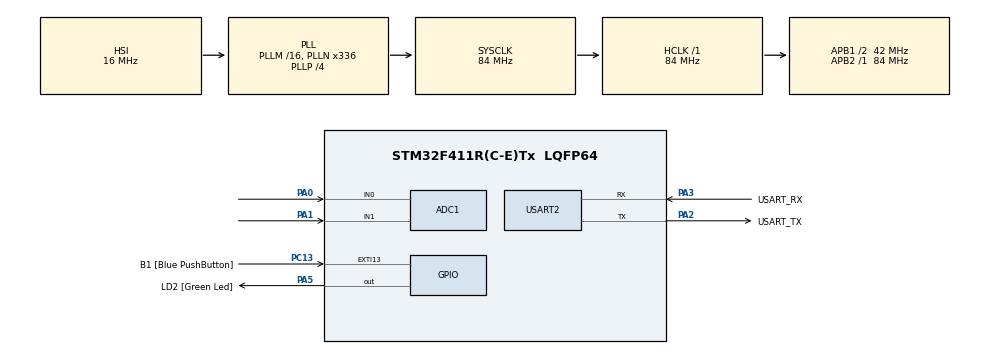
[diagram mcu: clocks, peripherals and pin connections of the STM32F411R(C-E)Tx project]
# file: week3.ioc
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ADC1.Channel-0\#ChannelRegularConversion=ADC_CHANNEL_0
ADC1.NbrOfConversionFlag=1
ADC1.Rank-0\#ChannelRegularConversion=1
ADC1.SamplingTime-0\#ChannelRegularConversion=ADC_SAMPLETIME_3CYCLES
ADC1.master=1
Mcu.Family=STM32F4
Mcu.Name=STM32F411R(C-E)Tx
Mcu.Package=LQFP64
NVIC.PriorityGroup=NVIC_PRIORITYGROUP_0
PA0-WKUP.Signal=ADCx_IN0
PA1.Signal=ADCx_IN1
PA13.GPIO_Label=TMS
PA13.Mode=Serial_Wire
PA13.Signal=SYS_JTMS-SWDIO
PA14.GPIO_Label=TCK
PA14.Mode=Serial_Wire
PA14.Signal=SYS_JTCK-SWCLK
PA2.GPIO_Label=USART_TX
PA2.Mode=Asynchronous
PA2.Signal=USART2_TX
PA3.GPIO_Label=USART_RX
PA3.Mode=Asynchronous
PA3.Signal=USART2_RX
PA5.GPIO_Label=LD2 [Green Led]
PA5.Signal=GPIO_Output
PB3.GPIO_Label=SWO
PB3.Signal=SYS_JTDO-SWO
PC13-ANTI_TAMP.GPIO_Label=B1 [Blue PushButton]
PC13-ANTI_TAMP.GPIO_ModeDefaultEXTI=GPIO_MODE_IT_FALLING
PC13-ANTI_TAMP.Signal=GPXTI13
PC14-OSC32_IN.Mode=LSE-External-Oscillator
PC14-OSC32_IN.Signal=RCC_OSC32_IN
PC15-OSC32_OUT.Mode=LSE-External-Oscillator
PC15-OSC32_OUT.Signal=RCC_OSC32_OUT
PH0\ -\ OSC_IN.Mode=HSE-External-Clock-Source
PH0\ -\ OSC_IN.Signal=RCC_OSC_IN
PH1\ -\ OSC_OUT.Mode=HSE-External-Clock-Source
PH1\ -\ OSC_OUT.Signal=RCC_OSC_OUT
ProjectManager.HeapSize=0x200
ProjectManager.StackSize=0x400
ProjectManager.TargetToolchain=STM32CubeIDE
RCC.48MHZClocksFreq_Value=84000000
RCC.AHBFreq_Value=84000000
RCC.APB1CLKDivider=RCC_HCLK_DIV2
RCC.APB1Freq_Value=42000000
RCC.APB1TimFreq_Value=84000000
RCC.APB2Freq_Value=84000000
RCC.APB2TimFreq_Value=84000000
RCC.CortexFreq_Value=84000000
RCC.FLatency-AdvancedSettings=FLASH_LATENCY_2
RCC.HCLKFreq_Value=84000000
RCC.HSE_VALUE=8000000
RCC.HSI_VALUE=16000000
RCC.PLLN=336
RCC.PLLP=RCC_PLLP_DIV4
RCC.SYSCLKFreq_VALUE=84000000
RCC.SYSCLKSource=RCC_SYSCLKSOURCE_PLLCLK
RCC.VCOOutputFreq_Value=336000000
SH.ADCx_IN0.0=ADC1_IN0,IN0
SH.ADCx_IN1.0=ADC1_IN1,IN1
USART2.VirtualMode=VM_ASYNC
VP_ADC1_TempSens_Input.Mode=IN-TempSens
board=NUCLEO-F411RE

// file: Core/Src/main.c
/* USER CODE BEGIN Header */
/**
 ******************************************************************************
 * @file           : main.c
 * @brief          : Main program body
 ******************************************************************************
 * @attention
 *
 * <h2><center>&copy; Copyright (c) 2021 STMicroelectronics.
 * All rights reserved.</center></h2>
 *
 * This software component is licensed by ST under BSD 3-Clause license,
 * the "License"; You may not use this file except in compliance with the
 * License. You may obtain a copy of the License at:
 *                        opensource.org/licenses/BSD-3-Clause
 *
 ******************************************************************************
 */
/* USER CODE END Header */
#include "main.h"

ADC_HandleTypeDef hadc1;

UART_HandleTypeDef huart2;

/* USER CODE BEGIN PV */
uint16_t adcdata[2] = { 0 };
int ADCMode =0;
float ADCOutputConverted=0;
typedef struct {
	ADC_ChannelConfTypeDef Config;
	uint16_t data;
} ADCStructure;

//ADCStructure ADCChannel[3] = { 0 };
ADCStructure ADCChannel[2] = { 0 };
/* USER CODE END PV */

void SystemClock_Config(void);
static void MX_GPIO_Init(void);
static void MX_USART2_UART_Init(void);
static void MX_ADC1_Init(void);
/* USER CODE BEGIN PFP */
void ADCPollingMethodInit();
void ADCPollingMethodUpdate();
/* USER CODE END PFP */

int main(void) {

	/* MCU Configuration--------------------------------------------------------*/

	/* Reset of all peripherals, Initializes the Flash interface and the Systick. */
HAL_Init();

	/* Configure the system clock */
	SystemClock_Config();

	/* Initialize all configured peripherals */
	MX_GPIO_Init();
	MX_USART2_UART_Init();
	MX_ADC1_Init();
	/* USER CODE BEGIN 2 */
	ADCPollingMethodInit();

	/* USER CODE END 2 */

	/* Infinite loop */
	while (1) {

		/* USER CODE BEGIN 3 */

		ADCPollingMethodUpdate();
	}
	/* USER CODE END 3 */
}

void SystemClock_Config(void) {
	RCC_OscInitTypeDef RCC_OscInitStruct = { 0 };
	RCC_ClkInitTypeDef RCC_ClkInitStruct = { 0 };

	/** Configure the main internal regulator output voltage
	 */
	__HAL_RCC_PWR_CLK_ENABLE();
	__HAL_PWR_VOLTAGESCALING_CONFIG(PWR_REGULATOR_VOLTAGE_SCALE1);
	/** Initializes the RCC Oscillators according to the specified parameters
	 * in the RCC_OscInitTypeDef structure.
	 */
	RCC_OscInitStruct.OscillatorType = RCC_OSCILLATORTYPE_HSI;
	RCC_OscInitStruct.HSIState = RCC_HSI_ON;
	RCC_OscInitStruct.HSICalibrationValue = RCC_HSICALIBRATION_DEFAULT;
	RCC_OscInitStruct.PLL.PLLState = RCC_PLL_ON;
	RCC_OscInitStruct.PLL.PLLSource = RCC_PLLSOURCE_HSI;
	RCC_OscInitStruct.PLL.PLLM = 16;
	RCC_OscInitStruct.PLL.PLLN = 336;
	RCC_OscInitStruct.PLL.PLLP = RCC_PLLP_DIV4;
	RCC_OscInitStruct.PLL.PLLQ = 4;
	if (HAL_RCC_OscConfig(&RCC_OscInitStruct) != HAL_OK) {
		Error_Handler();
	}
	/** Initializes the CPU, AHB and APB buses clocks
	 */
	RCC_ClkInitStruct.ClockType = RCC_CLOCKTYPE_HCLK | RCC_CLOCKTYPE_SYSCLK
			| RCC_CLOCKTYPE_PCLK1 | RCC_CLOCKTYPE_PCLK2;
	RCC_ClkInitStruct.SYSCLKSource = RCC_SYSCLKSOURCE_PLLCLK;
	RCC_ClkInitStruct.AHBCLKDivider = RCC_SYSCLK_DIV1;
	RCC_ClkInitStruct.APB1CLKDivider = RCC_HCLK_DIV2;
	RCC_ClkInitStruct.APB2CLKDivider = RCC_HCLK_DIV1;

	if (HAL_RCC_ClockConfig(&RCC_ClkInitStruct, FLASH_LATENCY_2) != HAL_OK) {
		Error_Handler();
	}
}

static void MX_ADC1_Init(void) {

	ADC_ChannelConfTypeDef sConfig = { 0 };

	/** Configure the global features of the ADC (Clock, Resolution, Data Alignment and number of conversion)
	 */
	hadc1.Instance = ADC1;
	hadc1.Init.ClockPrescaler = ADC_CLOCK_SYNC_PCLK_DIV4;
	hadc1.Init.Resolution = ADC_RESOLUTION_12B;
	hadc1.Init.ScanConvMode = DISABLE;
	hadc1.Init.ContinuousConvMode = DISABLE;
	hadc1.Init.DiscontinuousConvMode = DISABLE;
	hadc1.Init.ExternalTrigConvEdge = ADC_EXTERNALTRIGCONVEDGE_NONE;
	hadc1.Init.ExternalTrigConv = ADC_SOFTWARE_START;
	hadc1.Init.DataAlign = ADC_DATAALIGN_RIGHT;
	hadc1.Init.NbrOfConversion = 1;
	hadc1.Init.DMAContinuousRequests = DISABLE;
	hadc1.Init.EOCSelection = ADC_EOC_SINGLE_CONV;
	if (HAL_ADC_Init(&hadc1) != HAL_OK) {
		Error_Handler();
	}
	/** Configure for the selected ADC regular channel its corresponding rank in the sequencer and its sample time.
	 */
	sConfig.Channel = ADC_CHANNEL_0;
	sConfig.Rank = 1;
	sConfig.SamplingTime = ADC_SAMPLETIME_3CYCLES;
	if (HAL_ADC_ConfigChannel(&hadc1, &sConfig) != HAL_OK) {
		Error_Handler();
	}

}

static void MX_USART2_UART_Init(void) {

	huart2.Instance = USART2;
	huart2.Init.BaudRate = 115200;
	huart2.Init.WordLength = UART_WORDLENGTH_8B;
	huart2.Init.StopBits = UART_STOPBITS_1;
	huart2.Init.Parity = UART_PARITY_NONE;
	huart2.Init.Mode = UART_MODE_TX_RX;
	huart2.Init.HwFlowCtl = UART_HWCONTROL_NONE;
	huart2.Init.OverSampling = UART_OVERSAMPLING_16;
	if (HAL_UART_Init(&huart2) != HAL_OK) {
		Error_Handler();
	}

}

static void MX_GPIO_Init(void) {
	GPIO_InitTypeDef GPIO_InitStruct = { 0 };

	/* GPIO Ports Clock Enable */
	__HAL_RCC_GPIOC_CLK_ENABLE();
	__HAL_RCC_GPIOH_CLK_ENABLE();
	__HAL_RCC_GPIOA_CLK_ENABLE();
	__HAL_RCC_GPIOB_CLK_ENABLE();

	/*Configure GPIO pin Output Level */
	HAL_GPIO_WritePin(LD2_GPIO_Port, LD2_Pin, GPIO_PIN_RESET);

	/*Configure GPIO pin : B1_Pin */
	GPIO_InitStruct.Pin = B1_Pin;
	GPIO_InitStruct.Mode = GPIO_MODE_IT_FALLING;
	GPIO_InitStruct.Pull = GPIO_NOPULL;
	HAL_GPIO_Init(B1_GPIO_Port, &GPIO_InitStruct);

	/*Configure GPIO pin : LD2_Pin */
	GPIO_InitStruct.Pin = LD2_Pin;
	GPIO_InitStruct.Mode = GPIO_MODE_OUTPUT_PP;
	GPIO_InitStruct.Pull = GPIO_NOPULL;
	GPIO_InitStruct.Speed = GPIO_SPEED_FREQ_LOW;
	HAL_GPIO_Init(LD2_GPIO_Port, &GPIO_InitStruct);

}

/* USER CODE BEGIN 4 */
void ADCPollingMethodInit() {
	//config all ADC Channel
	ADCChannel[0].Config.Channel = ADC_CHANNEL_0;
	ADCChannel[0].Config.Rank = 1;
	ADCChannel[0].Config.SamplingTime = ADC_SAMPLETIME_3CYCLES;

//	ADCChannel[1].Config.Channel = ADC_CHANNEL_1;
//	ADCChannel[1].Config.Rank = 1;
//	ADCChannel[1].Config.SamplingTime = ADC_SAMPLETIME_3CYCLES;

	ADCChannel[1].Config.Channel = ADC_CHANNEL_TEMPSENSOR;
	ADCChannel[1].Config.Rank = 1;
	ADCChannel[1].Config.SamplingTime = ADC_SAMPLETIME_3CYCLES;
}
//Polling Method
void ADCPollingMethodUpdate() {
	GPIO_PinState Switch[2];
	Switch[0]= HAL_GPIO_ReadPin(GPIOC, GPIO_PIN_13);
	//Read all 3 Channel
//	for (int i = 0; i < 3; i++) {
//		HAL_ADC_ConfigChannel(&hadc1, &ADCChannel[i].Config);
//		HAL_ADC_Start(&hadc1);
//		HAL_ADC_PollForConversion(&hadc1, 10);
//		ADCChannel[i].data = HAL_ADC_GetValue(&hadc1);
//		HAL_ADC_Stop(&hadc1);
//	}
//	ADCOutputConverted = (ADCChannel[0].data*3.3)/4096;
	HAL_ADC_ConfigChannel(&hadc1, &ADCChannel[0].Config);
	HAL_ADC_Start(&hadc1);
	HAL_ADC_PollForConversion(&hadc1, 10);
	ADCChannel[0].data = HAL_ADC_GetValue(&hadc1);
	HAL_ADC_Stop(&hadc1);

	HAL_ADC_ConfigChannel(&hadc1, &ADCChannel[1].Config);
	HAL_ADC_Start(&hadc1);
	HAL_ADC_PollForConversion(&hadc1, 10);
	ADCChannel[1].data = HAL_ADC_GetValue(&hadc1);
	HAL_ADC_Stop(&hadc1);
	if(Switch[1]== GPIO_PIN_SET && Switch[0]== GPIO_PIN_RESET)
	    {
			if(ADCMode == 0)
			{

				ADCOutputConverted = (((ADCChannel[1].data*3.3)/4096)*1000);
				ADCMode =1;
			}
			else if(ADCMode == 1)
			{

				ADCOutputConverted = (((((ADCChannel[0].data*3.3)/4096)*1000) - 760)/2.5)+25;
				ADCMode =0;
			}
	    }
	Switch[1] = Switch[0];
}
/* USER CODE END 4 */

void Error_Handler(void) {
	__disable_irq();
	while (1) {
	}
}

/************************ (C) COPYRIGHT STMicroelectronics *****END OF FILE****/
